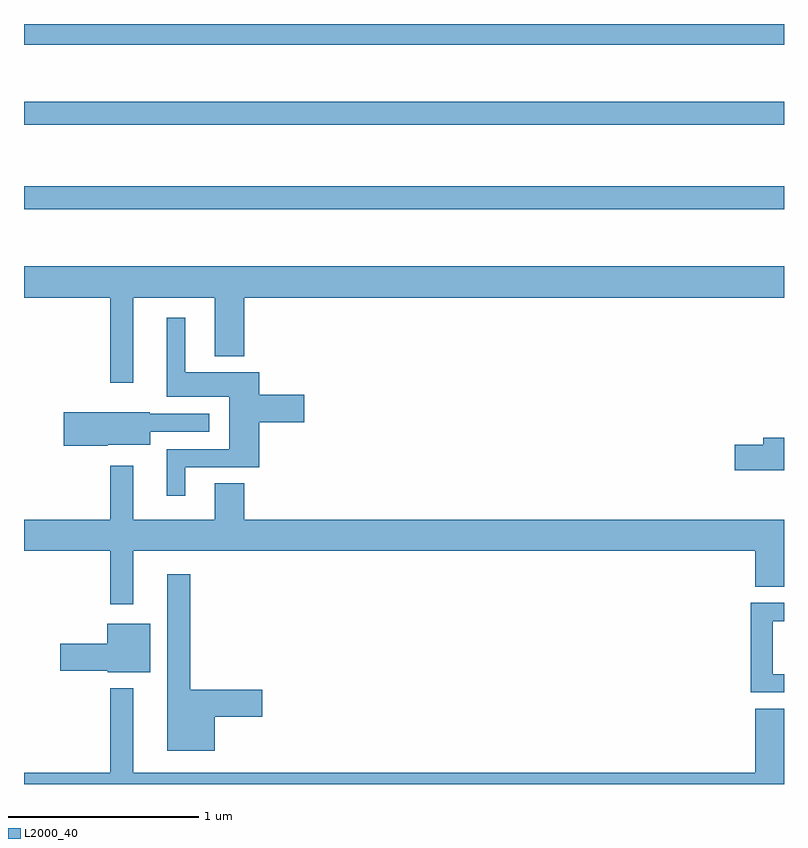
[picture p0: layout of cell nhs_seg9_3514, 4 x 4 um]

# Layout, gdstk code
import gdstk
lib = gdstk.Library(unit=1e-6, precision=1e-09)
def R(c, l, rs):  # rectangles x0, y0, x1, y1
    for r in rs: c.add(gdstk.rectangle(r[:2], r[2:], *l))
def P(c, l, *ps):  # polygons
    for p in ps: c.add(gdstk.Polygon(p, *l))
L2000_40 = (2000, 40)

nhs_seg9_3514 = lib.new_cell('nhs_seg9_3514')
R(nhs_seg9_3514, L2000_40, [(311,1223.526,315,1223.647), (311,1223.97,315,1224.091), (311,1224.392,315,1224.5)])
P(nhs_seg9_3514, L2000_40, [(311.575,1223.06),(312.005,1223.06),(312.005,1222.751),(312.158,1222.751),(312.158,1223.06),(315,1223.06),(315,1223.224),(311,1223.224),(311,1223.06),(311.454,1223.06),(311.454,1222.611),(311.575,1222.611)],
  [(311.848,1222.167),(312.239,1222.167),(312.239,1222.403),(312.475,1222.403),(312.475,1222.55),(312.239,1222.55),(312.239,1222.666),(311.848,1222.666),(311.848,1222.954),(311.75,1222.954),(311.75,1222.538),(312.08,1222.538),(312.08,1222.263),(311.75,1222.263),(311.75,1222.017),(311.848,1222.017)],
  [(311.442,1222.286),(311.665,1222.286),(311.665,1222.353),(311.974,1222.353),(311.974,1222.449),(311.661,1222.449),(311.661,1222.457),(311.208,1222.457),(311.208,1222.279),(311.442,1222.279)],
  [(315,1222.322),(314.891,1222.322),(314.891,1222.286),(314.742,1222.286),(314.742,1222.151),(315,1222.151)],
  [(311.575,1221.728),(314.849,1221.728),(314.849,1221.538),(315,1221.538),(315,1221.892),(312.158,1221.892),(312.158,1222.082),(312.005,1222.082),(312.005,1221.892),(311.575,1221.892),(311.575,1222.174),(311.454,1222.174),(311.454,1221.892),(311,1221.892),(311,1221.728),(311.454,1221.728),(311.454,1221.447),(311.575,1221.447)],
  [(312.004,1220.854),(312.253,1220.854),(312.253,1220.996),(311.875,1220.996),(311.875,1221.604),(311.753,1221.604),(311.753,1220.675),(312.004,1220.675)],
  [(315,1221.078),(314.94,1221.078),(314.94,1221.357),(315,1221.357),(315,1221.453),(314.824,1221.453),(314.824,1220.982),(315,1220.982)],
  [(311.665,1221.343),(311.438,1221.343),(311.438,1221.237),(311.19,1221.237),(311.19,1221.095),(311.442,1221.095),(311.442,1221.089),(311.665,1221.089)],
  [(315,1220.897),(314.849,1220.897),(314.849,1220.56),(311.575,1220.56),(311.575,1221.004),(311.454,1221.004),(311.454,1220.56),(311,1220.56),(311,1220.5),(315,1220.5)])

lib.write_gds('nhs_seg9_3514.gds')
